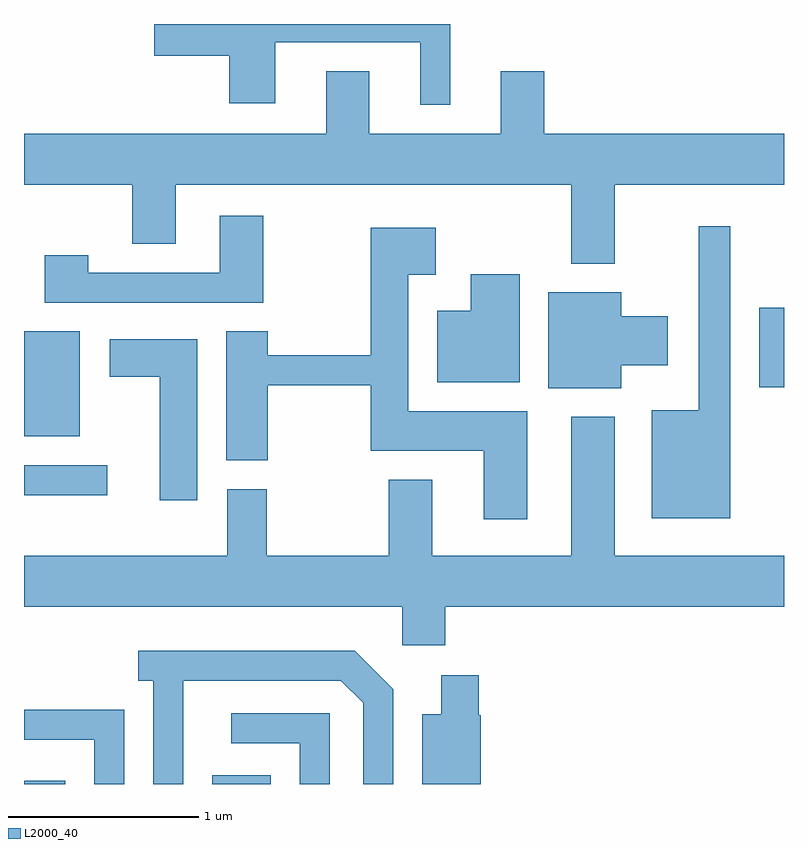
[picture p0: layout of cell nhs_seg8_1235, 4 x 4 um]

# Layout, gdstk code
import gdstk
lib = gdstk.Library(unit=1e-6, precision=1e-09)
def R(c, l, rs):  # rectangles x0, y0, x1, y1
    for r in rs: c.add(gdstk.rectangle(r[:2], r[2:], *l))
def P(c, l, *ps):  # polygons
    for p in ps: c.add(gdstk.Polygon(p, *l))
L2000_40 = (2000, 40)

nhs_seg8_1235 = lib.new_cell('nhs_seg8_1235')
R(nhs_seg8_1235, L2000_40, [(221.611,1864.342,221.829,1864.359), (222.601,1864.342,222.909,1864.389), (221.611,1865.861,222.048,1866.019), (221.611,1866.171,221.904,1866.724), (225.481,1866.431,225.611,1866.849)])
P(nhs_seg8_1235, L2000_40, [(223.854,1868.342),(222.296,1868.342),(222.296,1868.176),(222.691,1868.176),(222.691,1867.926),(222.934,1867.926),(222.934,1868.246),(223.696,1868.246),(223.696,1867.918),(223.854,1867.918)],
  [(224.719,1867.496),(225.611,1867.496),(225.611,1867.764),(224.349,1867.764),(224.349,1868.094),(224.121,1868.094),(224.121,1867.764),(223.429,1867.764),(223.429,1868.094),(223.201,1868.094),(223.201,1867.764),(221.611,1867.764),(221.611,1867.496),(222.181,1867.496),(222.181,1867.186),(222.409,1867.186),(222.409,1867.496),(224.491,1867.496),(224.491,1867.081),(224.719,1867.081)],
  [(222.869,1867.334),(222.641,1867.334),(222.641,1867.034),(221.949,1867.034),(221.949,1867.124),(221.721,1867.124),(221.721,1866.876),(222.869,1866.876)],
  [(225.329,1867.278),(225.161,1867.278),(225.161,1866.309),(224.916,1866.309),(224.916,1865.741),(225.329,1865.741)],
  [(224.259,1866.304),(223.634,1866.304),(223.634,1867.021),(223.779,1867.021),(223.779,1867.269),(223.436,1867.269),(223.436,1866.599),(222.894,1866.599),(222.894,1866.724),(222.676,1866.724),(222.676,1866.046),(222.894,1866.046),(222.894,1866.441),(223.436,1866.441),(223.436,1866.096),(224.031,1866.096),(224.031,1865.736),(224.259,1865.736)],
  [(224.219,1867.024),(223.961,1867.024),(223.961,1866.834),(223.786,1866.834),(223.786,1866.456),(224.219,1866.456)],
  [(224.754,1866.546),(224.999,1866.546),(224.999,1866.804),(224.754,1866.804),(224.754,1866.929),(224.371,1866.929),(224.371,1866.426),(224.754,1866.426)],
  [(222.524,1866.684),(222.061,1866.684),(222.061,1866.486),(222.326,1866.486),(222.326,1865.836),(222.524,1865.836)],
  [(223.829,1865.276),(225.611,1865.276),(225.611,1865.544),(224.719,1865.544),(224.719,1866.274),(224.491,1866.274),(224.491,1865.544),(223.759,1865.544),(223.759,1865.944),(223.531,1865.944),(223.531,1865.544),(222.889,1865.544),(222.889,1865.894),(222.681,1865.894),(222.681,1865.544),(221.611,1865.544),(221.611,1865.276),(223.601,1865.276),(223.601,1865.071),(223.829,1865.071)],
  [(222.449,1864.886),(223.279,1864.886),(223.396,1864.769),(223.396,1864.342),(223.554,1864.342),(223.554,1864.842),(223.352,1865.044),(222.213,1865.044),(222.213,1864.886),(222.291,1864.886),(222.291,1864.342),(222.449,1864.342)],
  [(224.014,1864.705),(224.004,1864.705),(224.004,1864.914),(223.806,1864.914),(223.806,1864.709),(223.706,1864.709),(223.706,1864.342),(224.014,1864.342)],
  [(222.139,1864.734),(221.611,1864.734),(221.611,1864.576),(221.981,1864.576),(221.981,1864.342),(222.139,1864.342)],
  [(223.219,1864.714),(222.703,1864.714),(222.703,1864.556),(223.061,1864.556),(223.061,1864.342),(223.219,1864.342)])

lib.write_gds('nhs_seg8_1235.gds')
